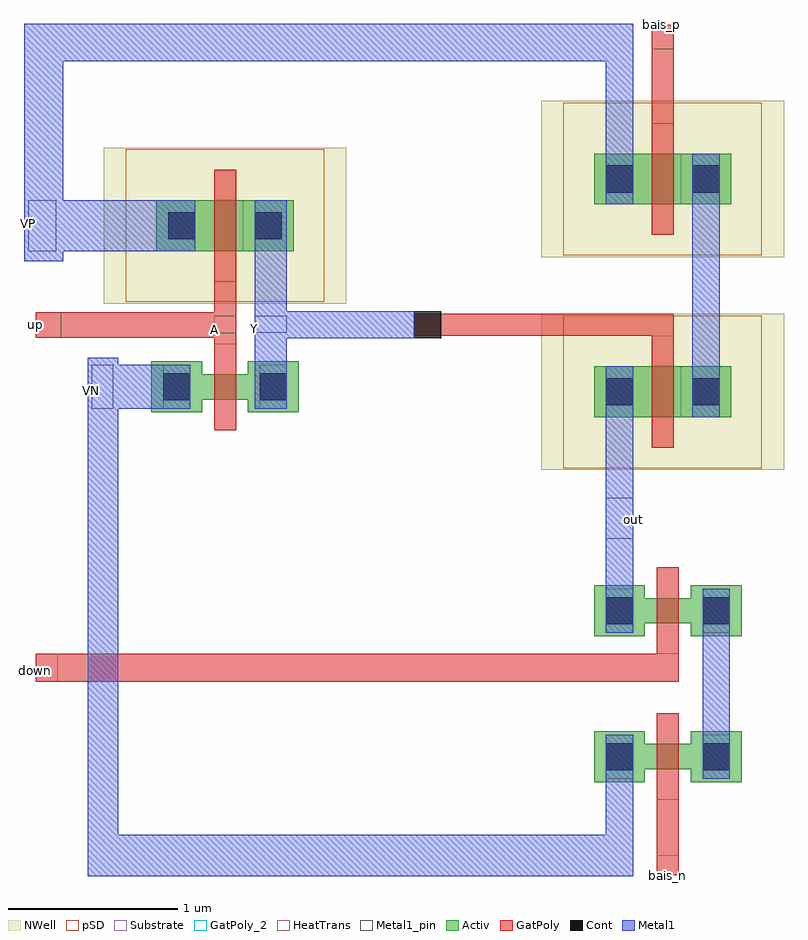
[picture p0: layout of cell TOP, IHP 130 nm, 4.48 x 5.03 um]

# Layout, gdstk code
import gdstk
lib = gdstk.Library(unit=1e-6, precision=1e-09)
def R(c, l, rs):  # rectangles x0, y0, x1, y1
    for r in rs: c.add(gdstk.rectangle(r[:2], r[2:], *l))
Activ = (1, 0)
GatPoly = (5, 0)
GatPoly_2 = (5, 2)
Cont = (6, 0)
Metal1 = (8, 0)
Metal1_pin = (8, 2)
pSD = (14, 0)
NWell = (31, 0)
Substrate = (40, 0)
HeatTrans = (51, 0)

pmos_1 = lib.new_cell('pmos$1')
R(pmos_1, Activ, [(-0.545,0.13,-0.245,0.43), (-0.545,0.13,0.265,0.43), (-0.035,0.13,0.265,0.43)])
R(pmos_1, GatPoly, [(-0.205,-0.05,-0.075,0.61), (-0.205,-0.05,-0.075,0.61)])
R(pmos_1, Cont, [(-0.475,0.2,-0.315,0.36), (0.035,0.2,0.195,0.36)])
R(pmos_1, Metal1, [(-0.475,0.13,-0.315,0.43), (-0.475,0.13,-0.315,0.43), (0.035,0.13,0.195,0.43), (0.035,0.13,0.195,0.43)])
R(pmos_1, pSD, [(-0.725,-0.17,0.445,0.73)])
R(pmos_1, NWell, [(-0.855,-0.18,0.575,0.74)])
R(pmos_1, Substrate, [(-0.035,0.13,0.265,0.43)])
R(pmos_1, HeatTrans, [(-0.205,-0.05,-0.075,0.61)])
pmos_1.add(gdstk.Label('pmos', (-0.14,0.28), layer=63, texttype=0))
pmos_1.add(gdstk.Label('pmos', (-0.14,0.28), layer=51, texttype=0))

nmos = lib.new_cell('nmos')
R(nmos, Activ, [(-0.545,0.13,-0.245,0.43), (0.025,0.13,0.325,0.43), (-0.545,0.205,0.325,0.355)])
R(nmos, GatPoly, [(-0.175,0.025,-0.045,0.535)])
R(nmos, GatPoly_2, [(-0.175,0.025,-0.045,0.535)])
R(nmos, Cont, [(-0.475,0.2,-0.315,0.36), (0.095,0.2,0.255,0.36)])
R(nmos, Metal1, [(-0.475,0.15,-0.315,0.41), (0.095,0.15,0.255,0.41)])
R(nmos, Metal1_pin, [(-0.475,0.15,-0.315,0.41), (0.095,0.15,0.255,0.41)])
R(nmos, HeatTrans, [(-0.175,0.025,-0.045,0.535)])
nmos.add(gdstk.Label('nmos', (-0.11,0.28), layer=63, texttype=0))
nmos.add(gdstk.Label('nmos', (-0.11,0.28), layer=51, texttype=0))

nmos_1 = lib.new_cell('nmos$1')
R(nmos_1, Activ, [(0,0,0.3,0.3), (0.57,0,0.87,0.3), (0,0.075,0.87,0.225)])
R(nmos_1, GatPoly, [(0.37,-0.105,0.5,0.405)])
R(nmos_1, GatPoly_2, [(0.37,-0.105,0.5,0.405)])
R(nmos_1, Cont, [(0.07,0.07,0.23,0.23), (0.64,0.07,0.8,0.23)])
R(nmos_1, Metal1, [(0.07,0.02,0.23,0.28), (0.64,0.02,0.8,0.28)])
R(nmos_1, Metal1_pin, [(0.07,0.02,0.23,0.28), (0.64,0.02,0.8,0.28)])
R(nmos_1, HeatTrans, [(0.37,-0.105,0.5,0.405)])
nmos_1.add(gdstk.Label('nmos', (0.435,0.15), layer=63, texttype=0))
nmos_1.add(gdstk.Label('nmos', (0.435,0.15), layer=51, texttype=0))

pmos_2 = lib.new_cell('pmos$2')
R(pmos_2, Activ, [(0,0,0.3,0.3), (0,0,0.81,0.3), (0.51,0,0.81,0.3)])
R(pmos_2, GatPoly, [(0.34,-0.18,0.47,0.48), (0.34,-0.18,0.47,0.48)])
R(pmos_2, Cont, [(0.07,0.07,0.23,0.23), (0.58,0.07,0.74,0.23)])
R(pmos_2, Metal1, [(0.07,0,0.23,0.3), (0.07,0,0.23,0.3), (0.58,0,0.74,0.3), (0.58,0,0.74,0.3)])
R(pmos_2, pSD, [(-0.18,-0.3,0.99,0.6)])
R(pmos_2, NWell, [(-0.31,-0.31,1.12,0.61)])
R(pmos_2, Substrate, [(0.51,0,0.81,0.3)])
R(pmos_2, HeatTrans, [(0.34,-0.18,0.47,0.48)])
pmos_2.add(gdstk.Label('pmos', (0.405,0.15), layer=63, texttype=0))
pmos_2.add(gdstk.Label('pmos', (0.405,0.15), layer=51, texttype=0))

top = lib.new_cell('TOP')
R(top, GatPoly, [(1.76,-3.17,1.89,-2.725), (-1.9,-2.03,1.89,-1.865), (-0.85,-0.035,-0.72,0.33), (-1.9,0,-0.85,0.15), (0.33,0.01,1.86,0.14), (1.73,1.265,1.86,1.845)])
R(top, GatPoly_2, [(1.76,-3.17,1.89,-3.05), (-1.9,-2.03,-1.77,-1.865), (-1.9,0,-1.75,0.15), (-0.85,0.025,-0.72,0.13), (1.73,1.7,1.86,1.845)])
R(top, Cont, [(0.33,-0.005,0.49,0.155)])
R(top, Metal1, [(-1.595,-3.175,1.46,-2.93), (-1.595,-3.175,-1.415,-0.12), (1.46,-3.175,1.62,-2.6), (2.03,-2.34,2.19,-1.74), (1.46,-1.48,1.62,-0.47), (-1.57,-0.42,-0.99,-0.16), (-0.61,-0.42,-0.42,0.81), (1.97,-0.17,2.13,0.785), (-0.42,-0.005,0.33,0.155), (-1.97,0.45,-1.74,1.63), (-1.945,0.51,-0.96,0.81), (1.46,1.085,1.62,1.85), (-1.97,1.63,1.46,1.85)])
R(top, Metal1_pin, [(1.46,-1.185,1.62,-0.945), (-1.57,-0.42,-1.445,-0.16), (-0.61,0.03,-0.42,0.13), (-1.945,0.51,-1.78,0.81)])
top.add(gdstk.Reference(pmos_1, (-0.645,0.38)))
top.add(gdstk.Reference(nmos, (-0.675,-0.57)))
top.add(gdstk.Reference(nmos_1, (1.39,-2.62)))
top.add(gdstk.Reference(nmos_1, (1.39,-1.76)))
top.add(gdstk.Reference(pmos_2, (1.39,-0.47)))
top.add(gdstk.Reference(pmos_2, (1.39,0.785)))
top.add(gdstk.Label('VP', (-1.945,0.67), layer=8, texttype=2))
top.add(gdstk.Label('VN', (-1.57,-0.31), layer=8, texttype=2))
top.add(gdstk.Label('Y', (-0.61,0.055), layer=8, texttype=2))
top.add(gdstk.Label('out', (1.62,-1.07), layer=8, texttype=2))
top.add(gdstk.Label('A', (-0.85,0.05), layer=5, texttype=2))
top.add(gdstk.Label('up', (-1.9,0.075), layer=5, texttype=2))
top.add(gdstk.Label('down', (-1.9,-1.965), layer=5, texttype=2))
top.add(gdstk.Label('bais_p', (1.79,1.845), layer=5, texttype=2))
top.add(gdstk.Label('bais_n', (1.825,-3.17), layer=5, texttype=2))

lib.write_gds('TOP.gds')
